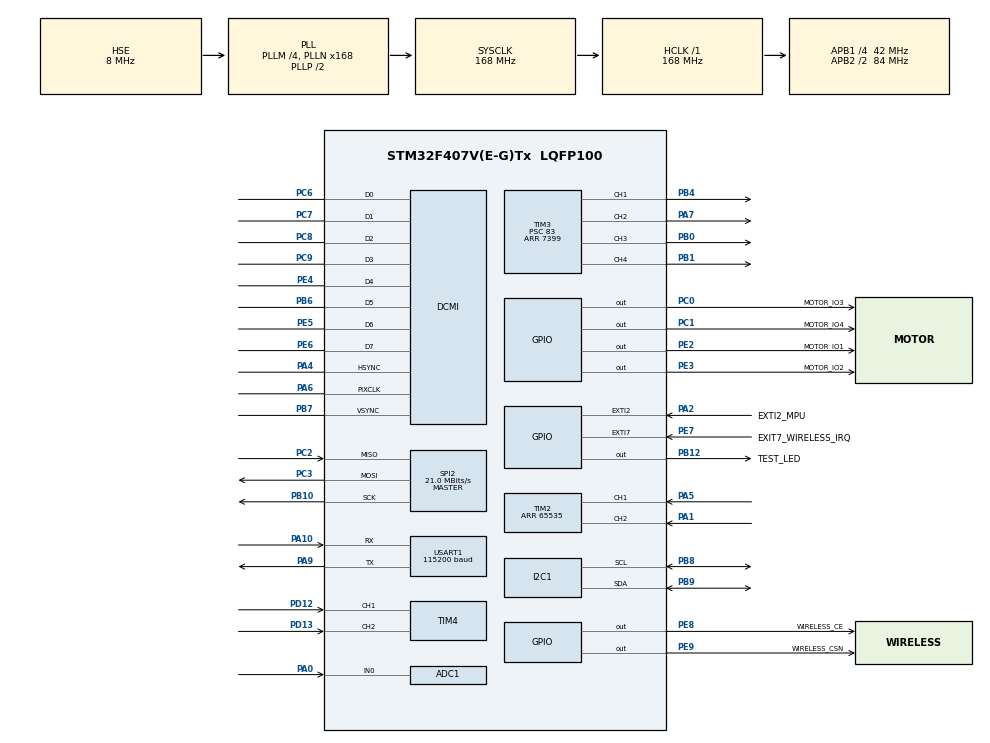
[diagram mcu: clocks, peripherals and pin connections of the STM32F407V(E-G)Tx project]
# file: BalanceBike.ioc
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ADC1.Channel-3\#ChannelRegularConversion=ADC_CHANNEL_0
ADC1.NbrOfConversionFlag=1
ADC1.Rank-3\#ChannelRegularConversion=1
ADC1.SamplingTime-3\#ChannelRegularConversion=ADC_SAMPLETIME_3CYCLES
ADC1.master=1
FREERTOS.Tasks01=defaultTask,24,128,StartDefaultTask,Default,NULL,Dynamic,NULL,NULL
I2C1.I2C_Mode=I2C_Fast
Mcu.Family=STM32F4
Mcu.Name=STM32F407V(E-G)Tx
Mcu.Package=LQFP100
NVIC.EXTI2_IRQn=true\:5\:0\:false\:false\:true\:true\:true\:true\:true
NVIC.PriorityGroup=NVIC_PRIORITYGROUP_4
NVIC.TIM1_UP_TIM10_IRQn=true\:15\:0\:false\:false\:true\:false\:false\:true\:true
NVIC.TIM2_IRQn=true\:5\:0\:false\:false\:true\:true\:true\:true\:true
NVIC.TIM4_IRQn=true\:5\:0\:false\:false\:true\:true\:true\:true\:true
NVIC.TimeBase=TIM1_UP_TIM10_IRQn
NVIC.TimeBaseIP=TIM1
PA0-WKUP.Signal=ADCx_IN0
PA1.Signal=S_TIM2_CH2
PA10.Mode=Asynchronous
PA10.Signal=USART1_RX
PA13.Mode=Serial_Wire
PA13.Signal=SYS_JTMS-SWDIO
PA14.Mode=Serial_Wire
PA14.Signal=SYS_JTCK-SWCLK
PA2.GPIO_Label=EXTI2_MPU
PA2.Signal=GPXTI2
PA4.Mode=Slave_8_bits_External_Synchro
PA4.Signal=DCMI_HSYNC
PA5.Signal=S_TIM2_CH1_ETR
PA6.Mode=Slave_8_bits_External_Synchro
PA6.Signal=DCMI_PIXCLK
PA7.Signal=S_TIM3_CH2
PA9.Mode=Asynchronous
PA9.Signal=USART1_TX
PB0.Signal=S_TIM3_CH3
PB1.Signal=S_TIM3_CH4
PB10.Mode=Full_Duplex_Master
PB10.Signal=SPI2_SCK
PB12.GPIO_Label=TEST_LED
PB12.Signal=GPIO_Output
PB4.Signal=S_TIM3_CH1
PB6.Mode=Slave_8_bits_External_Synchro
PB6.Signal=DCMI_D5
PB7.Mode=Slave_8_bits_External_Synchro
PB7.Signal=DCMI_VSYNC
PB8.Mode=I2C
PB8.Signal=I2C1_SCL
PB9.Mode=I2C
PB9.Signal=I2C1_SDA
PC0.GPIO_Label=MOTOR_IO3
PC0.GPIO_Speed=GPIO_SPEED_FREQ_LOW
PC0.Signal=GPIO_Output
PC1.GPIO_Label=MOTOR_IO4
PC1.GPIO_Speed=GPIO_SPEED_FREQ_LOW
PC1.Signal=GPIO_Output
PC2.Mode=Full_Duplex_Master
PC2.Signal=SPI2_MISO
PC3.Mode=Full_Duplex_Master
PC3.Signal=SPI2_MOSI
PC6.Mode=Slave_8_bits_External_Synchro
PC6.Signal=DCMI_D0
PC7.Mode=Slave_8_bits_External_Synchro
PC7.Signal=DCMI_D1
PC8.Mode=Slave_8_bits_External_Synchro
PC8.Signal=DCMI_D2
PC9.Mode=Slave_8_bits_External_Synchro
PC9.Signal=DCMI_D3
PD12.Signal=S_TIM4_CH1
PD13.Signal=S_TIM4_CH2
PE2.GPIO_Label=MOTOR_IO1
PE2.GPIO_Speed=GPIO_SPEED_FREQ_LOW
PE2.Signal=GPIO_Output
PE3.GPIO_Label=MOTOR_IO2
PE3.GPIO_Speed=GPIO_SPEED_FREQ_LOW
PE3.Signal=GPIO_Output
PE4.Mode=Slave_8_bits_External_Synchro
PE4.Signal=DCMI_D4
PE5.Mode=Slave_8_bits_External_Synchro
PE5.Signal=DCMI_D6
PE6.Mode=Slave_8_bits_External_Synchro
PE6.Signal=DCMI_D7
PE7.GPIO_Label=EXIT7_WIRELESS_IRQ
PE7.Signal=GPXTI7
PE8.GPIO_Label=WIRELESS_CE
PE8.Signal=GPIO_Output
PE9.GPIO_Label=WIRELESS_CSN
PE9.Signal=GPIO_Output
PH0-OSC_IN.Mode=HSE-External-Oscillator
PH0-OSC_IN.Signal=RCC_OSC_IN
PH1-OSC_OUT.Mode=HSE-External-Oscillator
PH1-OSC_OUT.Signal=RCC_OSC_OUT
ProjectManager.HeapSize=0x200
ProjectManager.StackSize=0x400
ProjectManager.TargetToolchain=Makefile
RCC.48MHZClocksFreq_Value=84000000
RCC.AHBFreq_Value=168000000
RCC.APB1CLKDivider=RCC_HCLK_DIV4
RCC.APB1Freq_Value=42000000
RCC.APB1TimFreq_Value=84000000
RCC.APB2CLKDivider=RCC_HCLK_DIV2
RCC.APB2Freq_Value=84000000
RCC.APB2TimFreq_Value=168000000
RCC.CortexFreq_Value=168000000
RCC.HCLKFreq_Value=168000000
RCC.HSE_VALUE=8000000
RCC.HSI_VALUE=16000000
RCC.LSE_VALUE=32768
RCC.PLLM=4
RCC.PLLN=168
RCC.PLLSourceVirtual=RCC_PLLSOURCE_HSE
RCC.SYSCLKFreq_VALUE=168000000
RCC.SYSCLKSource=RCC_SYSCLKSOURCE_PLLCLK
RCC.VCOOutputFreq_Value=336000000
SH.ADCx_IN0.0=ADC1_IN0,IN0
SH.S_TIM2_CH1_ETR.0=TIM2_CH1,Encoder_Interface
SH.S_TIM2_CH2.0=TIM2_CH2,Encoder_Interface
SH.S_TIM3_CH1.0=TIM3_CH1,PWM Generation1 CH1
SH.S_TIM3_CH2.0=TIM3_CH2,PWM Generation2 CH2
SH.S_TIM3_CH3.0=TIM3_CH3,PWM Generation3 CH3
SH.S_TIM3_CH4.0=TIM3_CH4,PWM Generation4 CH4
SH.S_TIM4_CH1.0=TIM4_CH1,Encoder_Interface
SH.S_TIM4_CH2.0=TIM4_CH2,Encoder_Interface
SPI2.BaudRatePrescaler=SPI_BAUDRATEPRESCALER_2
SPI2.CalculateBaudRate=21.0 MBits/s
SPI2.Direction=SPI_DIRECTION_2LINES
SPI2.Mode=SPI_MODE_MASTER
SPI2.VirtualType=VM_MASTER
TIM2.EncoderMode=TIM_ENCODERMODE_TI12
TIM2.IC1Filter=6
TIM2.Period=65535
TIM3.AutoReloadPreload=TIM_AUTORELOAD_PRELOAD_ENABLE
TIM3.Channel-PWM\ Generation1\ CH1=TIM_CHANNEL_1
TIM3.Channel-PWM\ Generation2\ CH2=TIM_CHANNEL_2
TIM3.Channel-PWM\ Generation3\ CH3=TIM_CHANNEL_3
TIM3.Channel-PWM\ Generation4\ CH4=TIM_CHANNEL_4
TIM3.Period=7399
TIM3.Prescaler=83
TIM4.EncoderMode=TIM_ENCODERMODE_TI12
TIM4.IC1Filter=6
USART1.BaudRate=115200
USART1.VirtualMode=VM_ASYNC
VP_FREERTOS_VS_CMSIS_V2.Mode=CMSIS_V2
VP_SYS_VS_tim1.Mode=TIM1
board=custom

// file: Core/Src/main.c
/* USER CODE BEGIN Header */
/**
  ******************************************************************************
  * @file           : main.c
  * @brief          : Main program body
  ******************************************************************************
  * @attention
  *
  * Copyright (c) 2025 STMicroelectronics.
  * All rights reserved.
  *
  * This software is licensed under terms that can be found in the LICENSE file
  * in the root directory of this software component.
  * If no LICENSE file comes with this software, it is provided AS-IS.
  *
  ******************************************************************************
  */
/* USER CODE END Header */
#include "main.h"

/* USER CODE BEGIN Includes */
#include "tasks.h"
/* USER CODE END Includes */

ADC_HandleTypeDef hadc1;

DCMI_HandleTypeDef hdcmi;

I2C_HandleTypeDef hi2c1;

SPI_HandleTypeDef hspi2;

TIM_HandleTypeDef htim2;
TIM_HandleTypeDef htim3;
TIM_HandleTypeDef htim4;

UART_HandleTypeDef huart1;

/* Definitions for defaultTask */
osThreadId_t defaultTaskHandle;
const osThreadAttr_t defaultTask_attributes = {
  .name = "defaultTask",
  .stack_size = 128 * 4,
  .priority = (osPriority_t) osPriorityNormal,
};
/* USER CODE BEGIN PV */
osThreadId_t test_led_task_handle;
const osThreadAttr_t test_led_task_attributes = {
  .name = "test_led",
  .stack_size = 128 * 4,
  .priority = (osPriority_t)osPriorityBelowNormal
};

osThreadId_t oled_task_handle;
const osThreadAttr_t oled_task_attributes = {
  .name = "oled",
  .stack_size = 128 * 8,
  .priority = (osPriority_t)osPriorityBelowNormal1
};

osThreadId_t balance_task_handle;
const osThreadAttr_t balance_task_attributes = {
  .name = "balance",
  .stack_size = 128 * 8,
  .priority = (osPriority_t)osPriorityNormal
};

osSemaphoreId_t gyro_ready_sem;
osMutexId_t i2c_bus_mutex;
osEventFlagsId_t event;
/* USER CODE END PV */

void SystemClock_Config(void);
static void MX_GPIO_Init(void);
static void MX_DCMI_Init(void);
static void MX_I2C1_Init(void);
static void MX_SPI2_Init(void);
static void MX_TIM2_Init(void);
static void MX_TIM3_Init(void);
static void MX_TIM4_Init(void);
static void MX_USART1_UART_Init(void);
static void MX_ADC1_Init(void);
void StartDefaultTask(void *argument);

int main(void)
{

  /* MCU Configuration--------------------------------------------------------*/

  /* Reset of all peripherals, Initializes the Flash interface and the Systick. */
  HAL_Init();

  /* Configure the system clock */
  SystemClock_Config();

  /* Initialize all configured peripherals */
  MX_GPIO_Init();
  MX_DCMI_Init();
  MX_I2C1_Init();
  MX_SPI2_Init();
  MX_TIM2_Init();
  MX_TIM3_Init();
  MX_TIM4_Init();
  MX_USART1_UART_Init();
  MX_ADC1_Init();

  /* Init scheduler */
  osKernelInitialize();

  /* USER CODE BEGIN RTOS_MUTEX */
  /* add mutexes, ... */
  i2c_bus_mutex = osMutexNew(NULL);
  /* USER CODE END RTOS_MUTEX */

  /* USER CODE BEGIN RTOS_SEMAPHORES */
  /* add semaphores, ... */
  gyro_ready_sem = osSemaphoreNew(1,0,NULL);
  /* USER CODE END RTOS_SEMAPHORES */

  /* Create the thread(s) */
  /* creation of defaultTask */
  defaultTaskHandle = osThreadNew(StartDefaultTask, NULL, &defaultTask_attributes);

  /* USER CODE BEGIN RTOS_THREADS */
  /* add threads, ... */
  test_led_task_handle = osThreadNew(test_led_task,NULL,&test_led_task_attributes);
  oled_task_handle = osThreadNew(oled_task,NULL,&oled_task_attributes);
  balance_task_handle = osThreadNew(balance_task,NULL,&balance_task_attributes);
  /* USER CODE END RTOS_THREADS */

  /* USER CODE BEGIN RTOS_EVENTS */
  /* add events, ... */
  event = osEventFlagsNew(NULL);
  /* USER CODE END RTOS_EVENTS */

  /* Start scheduler */
  osKernelStart();

  /* We should never get here as control is now taken by the scheduler */

  /* Infinite loop */
  while (1)
  {

  }
}

void SystemClock_Config(void)
{
  RCC_OscInitTypeDef RCC_OscInitStruct = {0};
  RCC_ClkInitTypeDef RCC_ClkInitStruct = {0};

  /** Configure the main internal regulator output voltage
  */
  __HAL_RCC_PWR_CLK_ENABLE();
  __HAL_PWR_VOLTAGESCALING_CONFIG(PWR_REGULATOR_VOLTAGE_SCALE1);

  /** Initializes the RCC Oscillators according to the specified parameters
  * in the RCC_OscInitTypeDef structure.
  */
  RCC_OscInitStruct.OscillatorType = RCC_OSCILLATORTYPE_HSE;
  RCC_OscInitStruct.HSEState = RCC_HSE_ON;
  RCC_OscInitStruct.PLL.PLLState = RCC_PLL_ON;
  RCC_OscInitStruct.PLL.PLLSource = RCC_PLLSOURCE_HSE;
  RCC_OscInitStruct.PLL.PLLM = 4;
  RCC_OscInitStruct.PLL.PLLN = 168;
  RCC_OscInitStruct.PLL.PLLP = RCC_PLLP_DIV2;
  RCC_OscInitStruct.PLL.PLLQ = 4;
  if (HAL_RCC_OscConfig(&RCC_OscInitStruct) != HAL_OK)
  {
    Error_Handler();
  }

  /** Initializes the CPU, AHB and APB buses clocks
  */
  RCC_ClkInitStruct.ClockType = RCC_CLOCKTYPE_HCLK|RCC_CLOCKTYPE_SYSCLK
                              |RCC_CLOCKTYPE_PCLK1|RCC_CLOCKTYPE_PCLK2;
  RCC_ClkInitStruct.SYSCLKSource = RCC_SYSCLKSOURCE_PLLCLK;
  RCC_ClkInitStruct.AHBCLKDivider = RCC_SYSCLK_DIV1;
  RCC_ClkInitStruct.APB1CLKDivider = RCC_HCLK_DIV4;
  RCC_ClkInitStruct.APB2CLKDivider = RCC_HCLK_DIV2;

  if (HAL_RCC_ClockConfig(&RCC_ClkInitStruct, FLASH_LATENCY_5) != HAL_OK)
  {
    Error_Handler();
  }
}

static void MX_ADC1_Init(void)
{

  ADC_ChannelConfTypeDef sConfig = {0};

  /** Configure the global features of the ADC (Clock, Resolution, Data Alignment and number of conversion)
  */
  hadc1.Instance = ADC1;
  hadc1.Init.ClockPrescaler = ADC_CLOCK_SYNC_PCLK_DIV4;
  hadc1.Init.Resolution = ADC_RESOLUTION_12B;
  hadc1.Init.ScanConvMode = DISABLE;
  hadc1.Init.ContinuousConvMode = DISABLE;
  hadc1.Init.DiscontinuousConvMode = DISABLE;
  hadc1.Init.ExternalTrigConvEdge = ADC_EXTERNALTRIGCONVEDGE_NONE;
  hadc1.Init.ExternalTrigConv = ADC_SOFTWARE_START;
  hadc1.Init.DataAlign = ADC_DATAALIGN_RIGHT;
  hadc1.Init.NbrOfConversion = 1;
  hadc1.Init.DMAContinuousRequests = DISABLE;
  hadc1.Init.EOCSelection = ADC_EOC_SINGLE_CONV;
  if (HAL_ADC_Init(&hadc1) != HAL_OK)
  {
    Error_Handler();
  }

  /** Configure for the selected ADC regular channel its corresponding rank in the sequencer and its sample time.
  */
  sConfig.Channel = ADC_CHANNEL_0;
  sConfig.Rank = 1;
  sConfig.SamplingTime = ADC_SAMPLETIME_3CYCLES;
  if (HAL_ADC_ConfigChannel(&hadc1, &sConfig) != HAL_OK)
  {
    Error_Handler();
  }

}

static void MX_DCMI_Init(void)
{

  hdcmi.Instance = DCMI;
  hdcmi.Init.SynchroMode = DCMI_SYNCHRO_HARDWARE;
  hdcmi.Init.PCKPolarity = DCMI_PCKPOLARITY_FALLING;
  hdcmi.Init.VSPolarity = DCMI_VSPOLARITY_LOW;
  hdcmi.Init.HSPolarity = DCMI_HSPOLARITY_LOW;
  hdcmi.Init.CaptureRate = DCMI_CR_ALL_FRAME;
  hdcmi.Init.ExtendedDataMode = DCMI_EXTEND_DATA_8B;
  hdcmi.Init.JPEGMode = DCMI_JPEG_DISABLE;
  if (HAL_DCMI_Init(&hdcmi) != HAL_OK)
  {
    Error_Handler();
  }

}

static void MX_I2C1_Init(void)
{

  hi2c1.Instance = I2C1;
  hi2c1.Init.ClockSpeed = 400000;
  hi2c1.Init.DutyCycle = I2C_DUTYCYCLE_2;
  hi2c1.Init.OwnAddress1 = 0;
  hi2c1.Init.AddressingMode = I2C_ADDRESSINGMODE_7BIT;
  hi2c1.Init.DualAddressMode = I2C_DUALADDRESS_DISABLE;
  hi2c1.Init.OwnAddress2 = 0;
  hi2c1.Init.GeneralCallMode = I2C_GENERALCALL_DISABLE;
  hi2c1.Init.NoStretchMode = I2C_NOSTRETCH_DISABLE;
  if (HAL_I2C_Init(&hi2c1) != HAL_OK)
  {
    Error_Handler();
  }

}

static void MX_SPI2_Init(void)
{

  /* SPI2 parameter configuration*/
  hspi2.Instance = SPI2;
  hspi2.Init.Mode = SPI_MODE_MASTER;
  hspi2.Init.Direction = SPI_DIRECTION_2LINES;
  hspi2.Init.DataSize = SPI_DATASIZE_8BIT;
  hspi2.Init.CLKPolarity = SPI_POLARITY_LOW;
  hspi2.Init.CLKPhase = SPI_PHASE_1EDGE;
  hspi2.Init.NSS = SPI_NSS_SOFT;
  hspi2.Init.BaudRatePrescaler = SPI_BAUDRATEPRESCALER_2;
  hspi2.Init.FirstBit = SPI_FIRSTBIT_MSB;
  hspi2.Init.TIMode = SPI_TIMODE_DISABLE;
  hspi2.Init.CRCCalculation = SPI_CRCCALCULATION_DISABLE;
  hspi2.Init.CRCPolynomial = 10;
  if (HAL_SPI_Init(&hspi2) != HAL_OK)
  {
    Error_Handler();
  }

}

static void MX_TIM2_Init(void)
{

  TIM_Encoder_InitTypeDef sConfig = {0};
  TIM_MasterConfigTypeDef sMasterConfig = {0};

  htim2.Instance = TIM2;
  htim2.Init.Prescaler = 0;
  htim2.Init.CounterMode = TIM_COUNTERMODE_UP;
  htim2.Init.Period = 65535;
  htim2.Init.ClockDivision = TIM_CLOCKDIVISION_DIV1;
  htim2.Init.AutoReloadPreload = TIM_AUTORELOAD_PRELOAD_DISABLE;
  sConfig.EncoderMode = TIM_ENCODERMODE_TI12;
  sConfig.IC1Polarity = TIM_ICPOLARITY_RISING;
  sConfig.IC1Selection = TIM_ICSELECTION_DIRECTTI;
  sConfig.IC1Prescaler = TIM_ICPSC_DIV1;
  sConfig.IC1Filter = 6;
  sConfig.IC2Polarity = TIM_ICPOLARITY_RISING;
  sConfig.IC2Selection = TIM_ICSELECTION_DIRECTTI;
  sConfig.IC2Prescaler = TIM_ICPSC_DIV1;
  sConfig.IC2Filter = 0;
  if (HAL_TIM_Encoder_Init(&htim2, &sConfig) != HAL_OK)
  {
    Error_Handler();
  }
  sMasterConfig.MasterOutputTrigger = TIM_TRGO_RESET;
  sMasterConfig.MasterSlaveMode = TIM_MASTERSLAVEMODE_DISABLE;
  if (HAL_TIMEx_MasterConfigSynchronization(&htim2, &sMasterConfig) != HAL_OK)
  {
    Error_Handler();
  }

}

static void MX_TIM3_Init(void)
{

  TIM_MasterConfigTypeDef sMasterConfig = {0};
  TIM_OC_InitTypeDef sConfigOC = {0};

  htim3.Instance = TIM3;
  htim3.Init.Prescaler = 83;
  htim3.Init.CounterMode = TIM_COUNTERMODE_UP;
  htim3.Init.Period = 7399;
  htim3.Init.ClockDivision = TIM_CLOCKDIVISION_DIV1;
  htim3.Init.AutoReloadPreload = TIM_AUTORELOAD_PRELOAD_ENABLE;
  if (HAL_TIM_PWM_Init(&htim3) != HAL_OK)
  {
    Error_Handler();
  }
  sMasterConfig.MasterOutputTrigger = TIM_TRGO_RESET;
  sMasterConfig.MasterSlaveMode = TIM_MASTERSLAVEMODE_DISABLE;
  if (HAL_TIMEx_MasterConfigSynchronization(&htim3, &sMasterConfig) != HAL_OK)
  {
    Error_Handler();
  }
  sConfigOC.OCMode = TIM_OCMODE_PWM1;
  sConfigOC.Pulse = 0;
  sConfigOC.OCPolarity = TIM_OCPOLARITY_HIGH;
  sConfigOC.OCFastMode = TIM_OCFAST_DISABLE;
  if (HAL_TIM_PWM_ConfigChannel(&htim3, &sConfigOC, TIM_CHANNEL_1) != HAL_OK)
  {
    Error_Handler();
  }
  if (HAL_TIM_PWM_ConfigChannel(&htim3, &sConfigOC, TIM_CHANNEL_2) != HAL_OK)
  {
    Error_Handler();
  }
  if (HAL_TIM_PWM_ConfigChannel(&htim3, &sConfigOC, TIM_CHANNEL_3) != HAL_OK)
  {
    Error_Handler();
  }
  if (HAL_TIM_PWM_ConfigChannel(&htim3, &sConfigOC, TIM_CHANNEL_4) != HAL_OK)
  {
    Error_Handler();
  }
  HAL_TIM_MspPostInit(&htim3);

}

static void MX_TIM4_Init(void)
{

  TIM_Encoder_InitTypeDef sConfig = {0};
  TIM_MasterConfigTypeDef sMasterConfig = {0};

  htim4.Instance = TIM4;
  htim4.Init.Prescaler = 0;
  htim4.Init.CounterMode = TIM_COUNTERMODE_UP;
  htim4.Init.Period = 65535;
  htim4.Init.ClockDivision = TIM_CLOCKDIVISION_DIV1;
  htim4.Init.AutoReloadPreload = TIM_AUTORELOAD_PRELOAD_DISABLE;
  sConfig.EncoderMode = TIM_ENCODERMODE_TI12;
  sConfig.IC1Polarity = TIM_ICPOLARITY_RISING;
  sConfig.IC1Selection = TIM_ICSELECTION_DIRECTTI;
  sConfig.IC1Prescaler = TIM_ICPSC_DIV1;
  sConfig.IC1Filter = 6;
  sConfig.IC2Polarity = TIM_ICPOLARITY_RISING;
  sConfig.IC2Selection = TIM_ICSELECTION_DIRECTTI;
  sConfig.IC2Prescaler = TIM_ICPSC_DIV1;
  sConfig.IC2Filter = 0;
  if (HAL_TIM_Encoder_Init(&htim4, &sConfig) != HAL_OK)
  {
    Error_Handler();
  }
  sMasterConfig.MasterOutputTrigger = TIM_TRGO_RESET;
  sMasterConfig.MasterSlaveMode = TIM_MASTERSLAVEMODE_DISABLE;
  if (HAL_TIMEx_MasterConfigSynchronization(&htim4, &sMasterConfig) != HAL_OK)
  {
    Error_Handler();
  }

}

static void MX_USART1_UART_Init(void)
{

  huart1.Instance = USART1;
  huart1.Init.BaudRate = 115200;
  huart1.Init.WordLength = UART_WORDLENGTH_8B;
  huart1.Init.StopBits = UART_STOPBITS_1;
  huart1.Init.Parity = UART_PARITY_NONE;
  huart1.Init.Mode = UART_MODE_TX_RX;
  huart1.Init.HwFlowCtl = UART_HWCONTROL_NONE;
  huart1.Init.OverSampling = UART_OVERSAMPLING_16;
  if (HAL_UART_Init(&huart1) != HAL_OK)
  {
    Error_Handler();
  }

}

static void MX_GPIO_Init(void)
{
  GPIO_InitTypeDef GPIO_InitStruct = {0};

  /* GPIO Ports Clock Enable */
  __HAL_RCC_GPIOE_CLK_ENABLE();
  __HAL_RCC_GPIOH_CLK_ENABLE();
  __HAL_RCC_GPIOC_CLK_ENABLE();
  __HAL_RCC_GPIOA_CLK_ENABLE();
  __HAL_RCC_GPIOB_CLK_ENABLE();
  __HAL_RCC_GPIOD_CLK_ENABLE();

  /*Configure GPIO pin Output Level */
  HAL_GPIO_WritePin(GPIOE, MOTOR_IO1_Pin|MOTOR_IO2_Pin|WIRELESS_CE_Pin|WIRELESS_CSN_Pin, GPIO_PIN_RESET);

  /*Configure GPIO pin Output Level */
  HAL_GPIO_WritePin(GPIOC, MOTOR_IO3_Pin|MOTOR_IO4_Pin, GPIO_PIN_RESET);

  /*Configure GPIO pin Output Level */
  HAL_GPIO_WritePin(TEST_LED_GPIO_Port, TEST_LED_Pin, GPIO_PIN_RESET);

  /*Configure GPIO pins : MOTOR_IO1_Pin MOTOR_IO2_Pin WIRELESS_CE_Pin WIRELESS_CSN_Pin */
  GPIO_InitStruct.Pin = MOTOR_IO1_Pin|MOTOR_IO2_Pin|WIRELESS_CE_Pin|WIRELESS_CSN_Pin;
  GPIO_InitStruct.Mode = GPIO_MODE_OUTPUT_PP;
  GPIO_InitStruct.Pull = GPIO_NOPULL;
  GPIO_InitStruct.Speed = GPIO_SPEED_FREQ_LOW;
  HAL_GPIO_Init(GPIOE, &GPIO_InitStruct);

  /*Configure GPIO pins : MOTOR_IO3_Pin MOTOR_IO4_Pin */
  GPIO_InitStruct.Pin = MOTOR_IO3_Pin|MOTOR_IO4_Pin;
  GPIO_InitStruct.Mode = GPIO_MODE_OUTPUT_PP;
  GPIO_InitStruct.Pull = GPIO_NOPULL;
  GPIO_InitStruct.Speed = GPIO_SPEED_FREQ_LOW;
  HAL_GPIO_Init(GPIOC, &GPIO_InitStruct);

  /*Configure GPIO pin : EXTI2_MPU_Pin */
  GPIO_InitStruct.Pin = EXTI2_MPU_Pin;
  GPIO_InitStruct.Mode = GPIO_MODE_IT_RISING;
  GPIO_InitStruct.Pull = GPIO_NOPULL;
  HAL_GPIO_Init(EXTI2_MPU_GPIO_Port, &GPIO_InitStruct);

  /*Configure GPIO pin : EXIT7_WIRELESS_IRQ_Pin */
  GPIO_InitStruct.Pin = EXIT7_WIRELESS_IRQ_Pin;
  GPIO_InitStruct.Mode = GPIO_MODE_IT_RISING;
  GPIO_InitStruct.Pull = GPIO_NOPULL;
  HAL_GPIO_Init(EXIT7_WIRELESS_IRQ_GPIO_Port, &GPIO_InitStruct);

  /*Configure GPIO pin : TEST_LED_Pin */
  GPIO_InitStruct.Pin = TEST_LED_Pin;
  GPIO_InitStruct.Mode = GPIO_MODE_OUTPUT_PP;
  GPIO_InitStruct.Pull = GPIO_NOPULL;
  GPIO_InitStruct.Speed = GPIO_SPEED_FREQ_LOW;
  HAL_GPIO_Init(TEST_LED_GPIO_Port, &GPIO_InitStruct);

  /* EXTI interrupt init*/
  HAL_NVIC_SetPriority(EXTI2_IRQn, 5, 0);
  HAL_NVIC_EnableIRQ(EXTI2_IRQn);

}

void StartDefaultTask(void *argument)
{
  for(;;)
  {
    osDelay(1);
  }
}

void HAL_TIM_PeriodElapsedCallback(TIM_HandleTypeDef *htim)
{
  if (htim->Instance == TIM1)
  {
    HAL_IncTick();
  }
}

void Error_Handler(void)
{
  __disable_irq();
  while (1)
  {
  }
}
